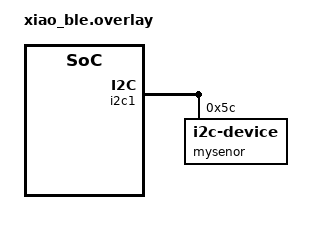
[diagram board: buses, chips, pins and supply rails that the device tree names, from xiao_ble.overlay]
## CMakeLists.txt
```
cmake_minimum_required(VERSION 3.20.0)
find_package(Zephyr REQUIRED HINTS $ENV{ZEPHYR_BASE})

project(lps22h3)

target_sources(app PRIVATE src/main.c)
```

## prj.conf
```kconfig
CONFIG_I2C=y
CONFIG_SENSOR=y
CONFIG_CBPRINTF_FP_SUPPORT=y
CONFIG_STDOUT_CONSOLE=y


#LOG
CONFIG_LOG=y
CONFIG_LOG_MODE_MINIMAL=y
```

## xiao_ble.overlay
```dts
// To get started, press Ctrl+Space to bring up the completion menu and view the available nodes.

// You can also use the buttons in the sidebar to perform actions on nodes.
// Actions currently available include:

// * Enabling / disabling the node
// * Adding the bus to a bus
// * Removing the node
// * Connecting ADC channels

// For more help, browse the DeviceTree documentation at https: //docs.zephyrproject.org/latest/guides/dts/index.html
// You can also visit the nRF DeviceTree extension documentation at https: //nrfconnect.github.io/vscode-nrf-connect/devicetree/nrfdevicetree.html
&i2c1 {
    mysensor: mysensor@5c {
        compatible = "i2c-device";
        reg = <0x5c>;
        label = "mysenor";
    };
};
```

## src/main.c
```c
// #include <zephyr/kernel.h>
// #include <zephyr/device.h>
// #include <zephyr/devicetree.h>
// #include <zephyr/logging/log.h>
// #include <hal/nrf_gpio.h>
// #include <zephyr/drivers/i2c.h>
// #define I2C1_NODE DT_NODELABEL(mysensor)
// char WHO_AM_I = 0xf;
// #define LPS22HB_REG_TEMP_OUT_L 0x2B
// #define LPS22HB_REG_TEMP_OUT_H 0x2C
// #define DELAY 1000
// uint8_t CTRL_REG1 = 0x10;
// #define SENSOR_OUTPUT NRF_GPIO_PIN_MAP(0, 26)

// static const struct i2c_dt_spec dev_i2c = I2C_DT_SPEC_GET(I2C1_NODE);
// uint8_t temp_reading[2] = {0};
// uint8_t sensor_regs[2] = {LPS22HB_REG_TEMP_OUT_L, LPS22HB_REG_TEMP_OUT_H};
// int main(void)
// {
//         // i2c_scan_touch();

//         if (!device_is_ready(dev_i2c.bus))
//         {
//                 printk("device is not ready\n");
//                 return 1;
//         }
//         uint8_t temp;
//         int r = i2c_write_read_dt(&dev_i2c, &CTRL_REG1, 1, &temp, 1);
//         printk("r value is %d for ctrl_reg is %d", r, temp);
//         if (temp == 0)
//         {
//                 printk("inside if condition\n");
//                 temp = 32;
//                 // setting this bit so 10 hz;;

//                 char config[2] = {CTRL_REG1, temp};
//                 printk("%x\n", temp);
//                 i2c_write_dt(&dev_i2c, config, sizeof(config));
//         }

//         // printk("%d\n", temp >> 4);
//         i2c_write_read_dt(&dev_i2c, &CTRL_REG1, 1, &temp, 1);
//         printk("%d", temp);
//         // while (1)
//         // {
//         //         int ret = i2c_write_read_dt(&dev_i2c, &sensor_regs[0], 1, &temp_reading[0], 1);
//         //         if (ret != 0)
//         //         {
//         //                 printk("can't read from this reg val\n");
//         //         }
//         //         printk("%x  ", temp_reading[0]);
//         //         ret = i2c_write_read_dt(&dev_i2c, &sensor_regs[1], 1, &temp_reading[1], 1);
//         //         if (ret != 0)
//         //         {
//         //                 printk("can't read from this reg val\n");
//         //         }
//         //         printk("%x\n", temp_reading[1]);
//         //         k_msleep(1000);
//         // }

//         return 0;
// }
#include <zephyr/kernel.h>
#include <zephyr/device.h>
#include <zephyr/devicetree.h>
#include <zephyr/drivers/i2c.h>
#include <zephyr/logging/log.h>
#include <zephyr/drivers/sensor.h>

#define I2C1_NODE DT_NODELABEL(mysensor)
#define LPS22HB_REG_TEMP_OUT_L 0x2B
#define LPS22HB_REG_TEMP_OUT_H 0x2C
#define DELAY 1000

LOG_MODULE_REGISTER(PRAC_4, LOG_LEVEL_DBG);

static const struct i2c_dt_spec dev_i2c = I2C_DT_SPEC_GET(I2C1_NODE);
struct sensor_value temp;
uint8_t sensor_regs[2] = {LPS22HB_REG_TEMP_OUT_L, LPS22HB_REG_TEMP_OUT_H};
#define ADC_MAX_VALUE 4095
#define V_REF 3.3            // Reference voltage for the ADC
#define TEMP_MIN_VOLTAGE 0.1 // Example: Minimum voltage corresponding to minimum temperature
#define TEMP_MAX_VOLTAGE 3.0 // Example: Maximum voltage corresponding to maximum temperature
#define TEMP_MIN_CELSIUS -40 // Example: Minimum temperature in Celsius
#define TEMP_MAX_CELSIUS 125 //
float adc_to_temperature(uint16_t adc_value)
{
        // Convert ADC value to voltage
        float voltage = (float)adc_value / ADC_MAX_VALUE * V_REF;

        // Linear interpolation to find temperature
        float temp_range = TEMP_MAX_CELSIUS - TEMP_MIN_CELSIUS;
        float voltage_range = TEMP_MAX_VOLTAGE - TEMP_MIN_VOLTAGE;
        float temp_celsius = ((voltage - TEMP_MIN_VOLTAGE) / voltage_range) * temp_range + TEMP_MIN_CELSIUS;

        return temp_celsius;
}
int main(void)
{

        if (!device_is_ready(dev_i2c.bus))
        {
                printk("I2C bus %s is not ready!\n\r", dev_i2c.bus->name);
                return 0;
        }
        unsigned char whoIamI[1] = {0xf};
        uint8_t valFromwhoIami;
        int ret = i2c_write_read_dt(&dev_i2c, whoIamI, 1, &valFromwhoIami, 1);
        printk("%x\n", valFromwhoIami);
        ;
        while (1)
        {
                ret = i2c_write_read_dt(&dev_i2c, &sensor_regs[0], 1, &temp.val1, 1);
                if (ret != 0)
                {
                        printk("Failed to write/read I2C device address %x at Reg. %x \r\n", dev_i2c.addr, sensor_regs[0]);
                }
                //   printk(" temp_red = %d \n\r",  temp.val1);
                ret = i2c_write_read_dt(&dev_i2c, &sensor_regs[1], 1, &temp.val2, 1);
                if (ret != 0)
                {
                        printk("Failed to write/read I2C device address %x at Reg. %x \r\n", dev_i2c.addr, sensor_regs[1]);
                }
                //   printk(" temp_red = %d \n\r",  temp.val2);
                int val = temp.val2 << 8 | temp.val1;

                double cTemp = (double)val / 100;
                printk("%lf\n", cTemp);
                k_msleep(DELAY);
        }
        return 0;
}
```
